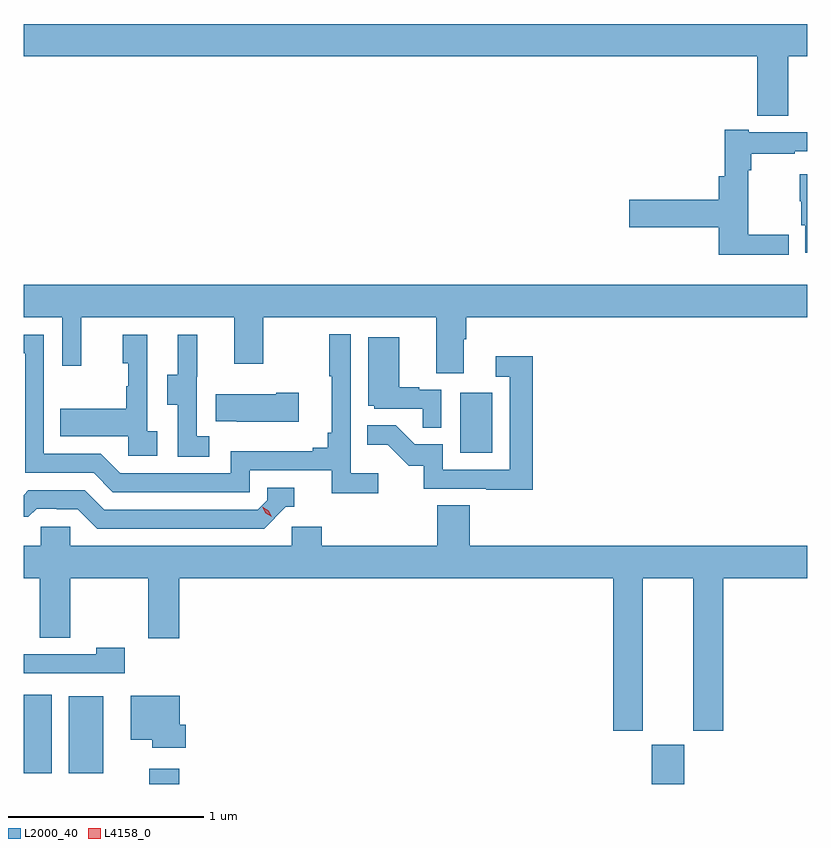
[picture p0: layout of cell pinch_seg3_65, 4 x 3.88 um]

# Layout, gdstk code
import gdstk
lib = gdstk.Library(unit=1e-6, precision=1e-09)
def R(c, l, rs):  # rectangles x0, y0, x1, y1
    for r in rs: c.add(gdstk.rectangle(r[:2], r[2:], *l))
def P(c, l, *ps):  # polygons
    for p in ps: c.add(gdstk.Polygon(p, *l))
L2000_40 = (2000, 40)
L4158_0 = (4158, 0)

pinch_seg3_65 = lib.new_cell('pinch_seg3_65')
R(pinch_seg3_65, L2000_40, [(1032.905,739.825,1033.058,739.903), (1035.47,739.825,1035.634,740.025), (1032.263,739.88,1032.406,740.281), (1032.494,739.88,1032.67,740.272), (1034.492,741.516,1034.656,741.823)])
P(pinch_seg3_65, L2000_40, [(1036.166,743.54),(1036.263,743.54),(1036.263,743.704),(1032.263,743.704),(1032.263,743.54),(1036.007,743.54),(1036.007,743.236),(1036.166,743.236)],
  [(1036.168,742.628),(1035.962,742.628),(1035.962,742.958),(1035.977,742.958),(1035.977,743.043),(1036.199,743.043),(1036.199,743.055),(1036.263,743.055),(1036.263,743.151),(1035.964,743.151),(1035.964,743.164),(1035.841,743.164),(1035.841,742.927),(1035.812,742.927),(1035.812,742.808),(1035.353,742.808),(1035.353,742.666),(1035.812,742.666),(1035.812,742.526),(1036.168,742.526)],
  [(1036.263,742.936),(1036.223,742.936),(1036.223,742.8),(1036.232,742.8),(1036.232,742.677),(1036.253,742.677),(1036.253,742.536),(1036.263,742.536)],
  [(1034.509,742.096),(1034.522,742.096),(1034.522,742.208),(1036.263,742.208),(1036.263,742.372),(1032.263,742.372),(1032.263,742.208),(1032.459,742.208),(1032.459,741.96),(1032.557,741.96),(1032.557,742.208),(1033.337,742.208),(1033.337,741.969),(1033.485,741.969),(1033.485,742.208),(1034.369,742.208),(1034.369,741.922),(1034.509,741.922)],
  [(1034.074,741.412),(1033.932,741.412),(1033.932,742.12),(1033.824,742.12),(1033.824,741.907),(1033.835,741.907),(1033.835,741.619),(1033.816,741.619),(1033.816,741.542),(1033.739,741.542),(1033.739,741.523),(1033.32,741.523),(1033.32,741.411),(1032.756,741.411),(1032.657,741.51),(1032.366,741.51),(1032.366,742.119),(1032.263,742.119),(1032.263,742.023),(1032.27,742.023),(1032.27,741.414),(1032.62,741.414),(1032.719,741.315),(1033.416,741.315),(1033.416,741.426),(1033.835,741.426),(1033.835,741.31),(1034.074,741.31)],
  [(1033.21,741.599),(1033.146,741.599),(1033.146,741.903),(1033.148,741.903),(1033.148,742.117),(1033.049,742.117),(1033.049,741.915),(1032.995,741.915),(1032.995,741.76),(1033.05,741.76),(1033.05,741.496),(1033.21,741.496)],
  [(1032.946,741.626),(1032.894,741.626),(1032.894,742.117),(1032.77,742.117),(1032.77,741.972),(1032.796,741.972),(1032.796,741.854),(1032.786,741.854),(1032.786,741.739),(1032.451,741.739),(1032.451,741.599),(1032.798,741.599),(1032.798,741.501),(1032.946,741.501)],
  [(1034.394,741.837),(1034.283,741.837),(1034.283,741.85),(1034.179,741.85),(1034.179,742.105),(1034.021,742.105),(1034.021,741.756),(1034.052,741.756),(1034.052,741.741),(1034.299,741.741),(1034.299,741.643),(1034.394,741.643)],
  [(1034.861,742.009),(1034.673,742.009),(1034.673,741.903),(1034.745,741.903),(1034.745,741.429),(1034.403,741.429),(1034.403,741.558),(1034.259,741.558),(1034.161,741.656),(1034.017,741.656),(1034.017,741.557),(1034.121,741.557),(1034.228,741.45),(1034.305,741.45),(1034.305,741.333),(1034.623,741.333),(1034.623,741.328),(1034.861,741.328)],
  [(1033.666,741.822),(1033.553,741.822),(1033.553,741.814),(1033.243,741.814),(1033.243,741.677),(1033.351,741.677),(1033.351,741.674),(1033.666,741.674)],
  [(1033.602,741.24),(1033.645,741.24),(1033.645,741.336),(1033.506,741.336),(1033.506,741.273),(1033.458,741.225),(1032.675,741.225),(1032.576,741.324),(1032.287,741.324),(1032.263,741.3),(1032.263,741.189),(1032.287,741.189),(1032.329,741.231),(1032.432,741.231),(1032.432,741.228),(1032.539,741.228),(1032.638,741.129),(1033.491,741.129)],
  [(1034.54,741.248),(1034.375,741.248),(1034.375,741.04),(1033.784,741.04),(1033.784,741.138),(1033.632,741.138),(1033.632,741.04),(1032.501,741.04),(1032.501,741.138),(1032.351,741.138),(1032.351,741.04),(1032.263,741.04),(1032.263,740.876),(1032.346,740.876),(1032.346,740.572),(1032.5,740.572),(1032.5,740.876),(1032.898,740.876),(1032.898,740.568),(1033.058,740.568),(1033.058,740.876),(1035.272,740.876),(1035.272,740.097),(1035.424,740.097),(1035.424,740.876),(1035.68,740.876),(1035.68,740.097),(1035.833,740.097),(1035.833,740.876),(1036.263,740.876),(1036.263,741.04),(1034.54,741.04)],
  [(1032.778,740.52),(1032.633,740.52),(1032.633,740.487),(1032.263,740.487),(1032.263,740.391),(1032.778,740.391)],
  [(1033.091,740.127),(1033.06,740.127),(1033.06,740.275),(1032.809,740.275),(1032.809,740.051),(1032.92,740.051),(1032.92,740.009),(1033.091,740.009)])
P(pinch_seg3_65, L4158_0, [(1033.53,741.188),(1033.499,741.207),(1033.482,741.239),(1033.482,741.239),(1033.482,741.239),(1033.513,741.22),(1033.53,741.188),(1033.53,741.188)])

lib.write_gds('pinch_seg3_65.gds')
